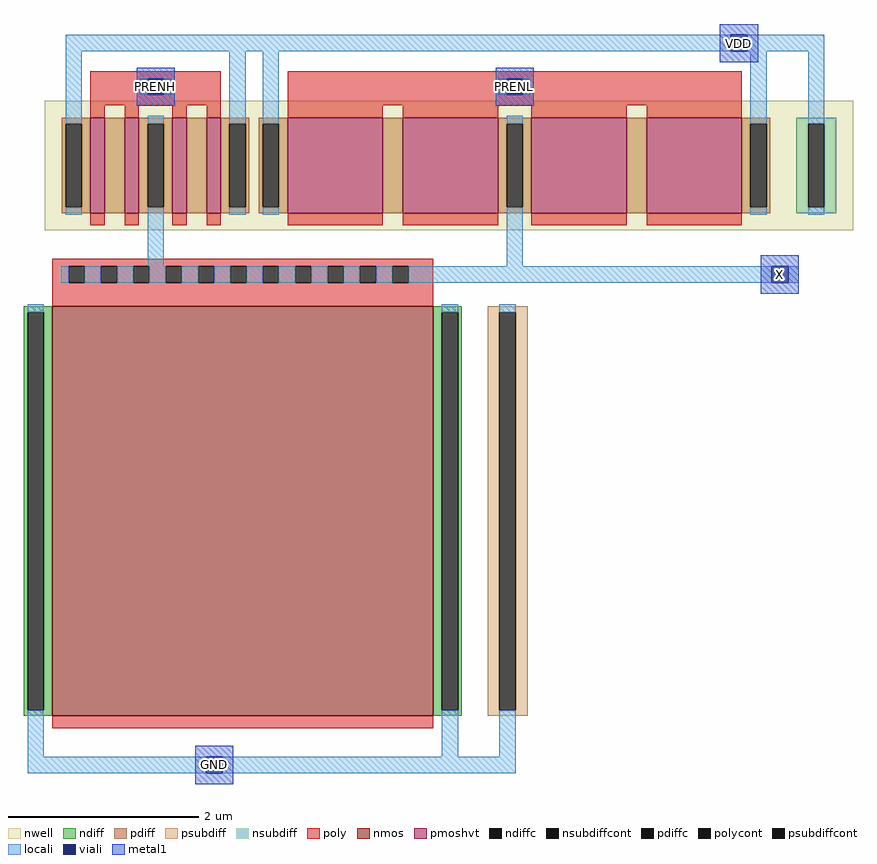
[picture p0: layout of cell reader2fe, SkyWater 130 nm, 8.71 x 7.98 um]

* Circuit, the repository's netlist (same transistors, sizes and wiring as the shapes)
* NGSPICE file created from reader2fe.ext - technology: sky130A

.subckt reader2fe PRENH PRENL X VDD GND
X0 X PRENL a_754_1056# VDD sky130_fd_pr__pfet_01v8_hvt ad=0.175 pd=1.35 as=0.105 ps=1.21 w=1 l=1
X1 a_1266_1056# PRENL X VDD sky130_fd_pr__pfet_01v8_hvt ad=0.105 pd=1.21 as=0.175 ps=1.35 w=1 l=1
X2 a_754_1056# PRENL VDD VDD sky130_fd_pr__pfet_01v8_hvt ad=0.105 pd=1.21 as=0.3 ps=2.6 w=1 l=1
X3 GND X GND GND sky130_fd_pr__nfet_01v8 ad=1.29 pd=9.2 as=2.58 ps=18.4 w=4.3 l=4
X4 a_342_1056# PRENH X VDD sky130_fd_pr__pfet_01v8_hvt ad=0.105 pd=1.21 as=0.175 ps=1.35 w=1 l=0.15
X5 a_170_1056# PRENH VDD VDD sky130_fd_pr__pfet_01v8_hvt ad=0.105 pd=1.21 as=0.3 ps=2.6 w=1 l=0.15
X6 X PRENH a_170_1056# VDD sky130_fd_pr__pfet_01v8_hvt ad=0.175 pd=1.35 as=0.105 ps=1.21 w=1 l=0.15
X7 VDD PRENL a_1266_1056# VDD sky130_fd_pr__pfet_01v8_hvt ad=0.3 pd=2.6 as=0.105 ps=1.21 w=1 l=1
X8 VDD PRENH a_342_1056# VDD sky130_fd_pr__pfet_01v8_hvt ad=0.3 pd=2.6 as=0.105 ps=1.21 w=1 l=0.15
.ends

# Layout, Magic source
magic
tech sky130A
magscale 1 2
<< nwell >>
rect 44 1020 1742 1292
<< nmos >>
rect 60 0 860 860
<< pmoshvt >>
rect 140 1056 170 1256
rect 212 1056 242 1256
rect 312 1056 342 1256
rect 384 1056 414 1256
rect 554 1056 754 1256
rect 796 1056 996 1256
rect 1066 1056 1266 1256
rect 1308 1056 1508 1256
<< ndiff >>
rect 0 848 60 860
rect 0 12 8 848
rect 42 12 60 848
rect 0 0 60 12
rect 860 848 920 860
rect 860 12 878 848
rect 912 12 920 848
rect 860 0 920 12
<< pdiff >>
rect 80 1244 140 1256
rect 80 1068 88 1244
rect 122 1068 140 1244
rect 80 1056 140 1068
rect 170 1056 212 1256
rect 242 1244 312 1256
rect 242 1068 260 1244
rect 294 1068 312 1244
rect 242 1056 312 1068
rect 342 1056 384 1256
rect 414 1244 474 1256
rect 414 1068 432 1244
rect 466 1068 474 1244
rect 414 1056 474 1068
rect 494 1244 554 1256
rect 494 1068 502 1244
rect 536 1068 554 1244
rect 494 1056 554 1068
rect 754 1056 796 1256
rect 996 1244 1066 1256
rect 996 1068 1014 1244
rect 1048 1068 1066 1244
rect 996 1056 1066 1068
rect 1266 1056 1308 1256
rect 1508 1244 1568 1256
rect 1508 1068 1526 1244
rect 1560 1068 1568 1244
rect 1508 1056 1568 1068
<< ndiffc >>
rect 8 12 42 848
rect 878 12 912 848
<< pdiffc >>
rect 88 1068 122 1244
rect 260 1068 294 1244
rect 432 1068 466 1244
rect 502 1068 536 1244
rect 1014 1068 1048 1244
rect 1526 1068 1560 1244
<< psubdiff >>
rect 974 848 1058 860
rect 974 12 999 848
rect 1033 12 1058 848
rect 974 0 1058 12
<< nsubdiff >>
rect 1622 1244 1706 1256
rect 1622 1068 1647 1244
rect 1681 1068 1706 1244
rect 1622 1056 1706 1068
<< psubdiffcont >>
rect 999 12 1033 848
<< nsubdiffcont >>
rect 1647 1068 1681 1244
<< poly >>
rect 140 1338 414 1354
rect 140 1304 260 1338
rect 294 1304 414 1338
rect 140 1282 414 1304
rect 140 1256 170 1282
rect 212 1256 242 1282
rect 312 1256 342 1282
rect 384 1256 414 1282
rect 554 1338 1508 1354
rect 554 1304 1014 1338
rect 1048 1304 1508 1338
rect 554 1282 1508 1304
rect 554 1256 754 1282
rect 796 1256 996 1282
rect 1066 1256 1266 1282
rect 1308 1256 1508 1282
rect 140 1030 170 1056
rect 212 1030 242 1056
rect 312 1030 342 1056
rect 384 1030 414 1056
rect 554 1030 754 1056
rect 796 1030 996 1056
rect 1066 1030 1266 1056
rect 1308 1030 1508 1056
rect 60 944 860 960
rect 60 910 94 944
rect 128 910 162 944
rect 196 910 230 944
rect 264 910 298 944
rect 332 910 366 944
rect 400 910 434 944
rect 468 910 502 944
rect 536 910 570 944
rect 604 910 638 944
rect 672 910 706 944
rect 740 910 774 944
rect 808 910 860 944
rect 60 860 860 910
rect 60 -26 860 0
<< polycont >>
rect 260 1304 294 1338
rect 1014 1304 1048 1338
rect 94 910 128 944
rect 162 910 196 944
rect 230 910 264 944
rect 298 910 332 944
rect 366 910 400 944
rect 434 910 468 944
rect 502 910 536 944
rect 570 910 604 944
rect 638 910 672 944
rect 706 910 740 944
rect 774 910 808 944
<< locali >>
rect 88 1396 1485 1430
rect 1519 1396 1681 1430
rect 88 1244 122 1396
rect 244 1304 260 1338
rect 294 1304 310 1338
rect 88 1052 122 1068
rect 260 1244 294 1260
rect 260 944 294 1068
rect 432 1244 466 1396
rect 432 1052 466 1068
rect 502 1244 536 1396
rect 998 1304 1014 1338
rect 1048 1304 1064 1338
rect 502 1052 536 1068
rect 1014 1244 1048 1260
rect 1014 944 1048 1068
rect 1526 1244 1560 1396
rect 1526 1052 1560 1068
rect 1647 1244 1681 1396
rect 1647 1052 1681 1068
rect 78 910 94 944
rect 128 910 162 944
rect 196 910 230 944
rect 264 910 298 944
rect 332 910 366 944
rect 400 910 434 944
rect 468 910 502 944
rect 536 910 570 944
rect 604 910 638 944
rect 672 910 706 944
rect 740 910 774 944
rect 808 910 1571 944
rect 1605 910 1628 944
rect 8 848 42 864
rect 8 -86 42 12
rect 878 848 912 864
rect 878 -86 912 12
rect 999 848 1033 864
rect 999 -86 1033 12
rect 8 -120 383 -86
rect 417 -120 1033 -86
<< viali >>
rect 1485 1396 1519 1430
rect 260 1304 294 1338
rect 1014 1304 1048 1338
rect 1571 910 1605 944
rect 383 -120 417 -86
<< metal1 >>
rect 1462 1430 1542 1453
rect 1462 1396 1485 1430
rect 1519 1396 1542 1430
rect 1462 1373 1542 1396
rect 237 1338 317 1361
rect 237 1304 260 1338
rect 294 1304 317 1338
rect 237 1281 317 1304
rect 991 1338 1071 1361
rect 991 1304 1014 1338
rect 1048 1304 1071 1338
rect 991 1281 1071 1304
rect 1548 944 1628 967
rect 1548 910 1571 944
rect 1605 910 1628 944
rect 1548 887 1628 910
rect 360 -86 440 -63
rect 360 -120 383 -86
rect 417 -120 440 -86
rect 360 -143 440 -120
<< labels >>
flabel metal1 237 1281 317 1361 0 FreeSans 320 0 0 0 PRENH
port 1 nsew
flabel metal1 991 1281 1071 1361 0 FreeSans 320 0 0 0 PRENL
port 2 nsew
flabel metal1 1548 887 1628 967 0 FreeSans 320 0 0 0 X
port 3 nsew
flabel metal1 1462 1373 1542 1453 0 FreeSans 320 0 0 0 VDD
port 4 nsew
flabel metal1 360 -143 440 -63 0 FreeSans 320 0 0 0 GND
port 5 nsew
<< end >>
